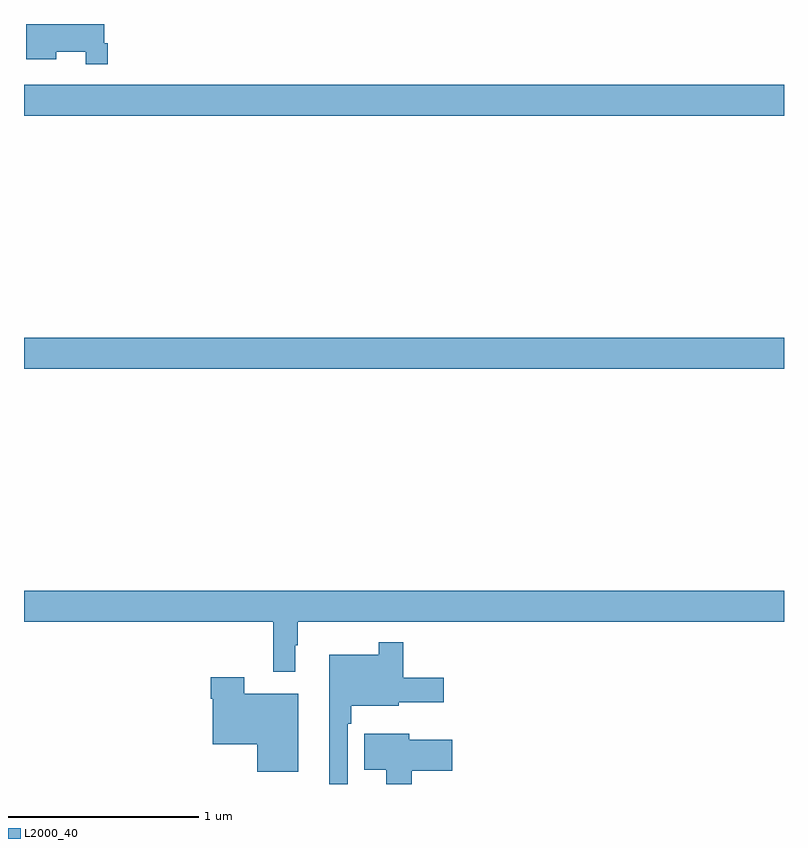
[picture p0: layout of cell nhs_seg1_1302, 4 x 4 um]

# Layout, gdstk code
import gdstk
lib = gdstk.Library(unit=1e-6, precision=1e-09)
def R(c, l, rs):  # rectangles x0, y0, x1, y1
    for r in rs: c.add(gdstk.rectangle(r[:2], r[2:], *l))
def P(c, l, *ps):  # polygons
    for p in ps: c.add(gdstk.Polygon(p, *l))
L2000_40 = (2000, 40)

nhs_seg1_1302 = lib.new_cell('nhs_seg1_1302')
R(nhs_seg1_1302, L2000_40, [(181,566.384,185,566.548), (181,567.716,185,567.88)])
P(nhs_seg1_1302, L2000_40, [(181.442,568.099),(181.422,568.099),(181.422,568.199),(181.013,568.199),(181.013,568.013),(181.171,568.013),(181.171,568.052),(181.325,568.052),(181.325,567.987),(181.442,567.987)],
  [(182.428,564.929),(182.44,564.929),(182.44,565.052),(185,565.052),(185,565.216),(181,565.216),(181,565.052),(182.311,565.052),(182.311,564.789),(182.428,564.789)],
  [(182.703,564.515),(182.723,564.515),(182.723,564.611),(182.973,564.611),(182.973,564.629),(183.208,564.629),(183.208,564.759),(182.996,564.759),(182.996,564.946),(182.868,564.946),(182.868,564.88),(182.606,564.88),(182.606,564.199),(182.703,564.199)],
  [(182.443,564.673),(182.16,564.673),(182.16,564.76),(181.982,564.76),(181.982,564.647),(181.994,564.647),(181.994,564.407),(182.228,564.407),(182.228,564.263),(182.443,564.263)],
  [(183.041,564.268),(183.253,564.268),(183.253,564.433),(183.028,564.433),(183.028,564.463),(182.792,564.463),(182.792,564.275),(182.906,564.275),(182.906,564.199),(183.041,564.199)])

lib.write_gds('nhs_seg1_1302.gds')
